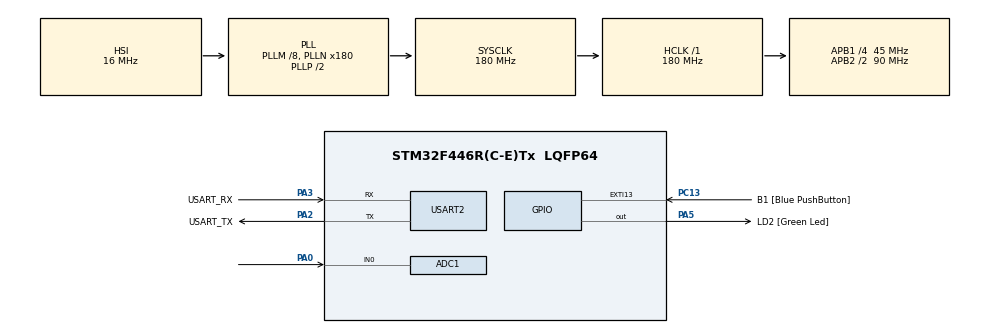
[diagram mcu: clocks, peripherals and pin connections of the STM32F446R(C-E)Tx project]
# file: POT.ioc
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ADC1.Channel-0\#ChannelRegularConversion=ADC_CHANNEL_0
ADC1.ContinuousConvMode=ENABLE
ADC1.NbrOfConversionFlag=1
ADC1.Rank-0\#ChannelRegularConversion=1
ADC1.SamplingTime-0\#ChannelRegularConversion=ADC_SAMPLETIME_3CYCLES
ADC1.master=1
Mcu.Family=STM32F4
Mcu.Name=STM32F446R(C-E)Tx
Mcu.Package=LQFP64
NVIC.PriorityGroup=NVIC_PRIORITYGROUP_0
PA0-WKUP.Signal=ADCx_IN0
PA13.GPIO_Label=TMS
PA13.Mode=Serial_Wire
PA13.Signal=SYS_JTMS-SWDIO
PA14.GPIO_Label=TCK
PA14.Mode=Serial_Wire
PA14.Signal=SYS_JTCK-SWCLK
PA2.GPIO_Label=USART_TX
PA2.Mode=Asynchronous
PA2.Signal=USART2_TX
PA3.GPIO_Label=USART_RX
PA3.Mode=Asynchronous
PA3.Signal=USART2_RX
PA5.GPIO_Label=LD2 [Green Led]
PA5.Signal=GPIO_Output
PB3.GPIO_Label=SWO
PB3.Signal=SYS_JTDO-SWO
PC13.GPIO_Label=B1 [Blue PushButton]
PC13.GPIO_ModeDefaultEXTI=GPIO_MODE_IT_FALLING
PC13.Signal=GPXTI13
PC14-OSC32_IN.Mode=LSE-External-Oscillator
PC14-OSC32_IN.Signal=RCC_OSC32_IN
PC15-OSC32_OUT.Mode=LSE-External-Oscillator
PC15-OSC32_OUT.Signal=RCC_OSC32_OUT
PH0-OSC_IN.Mode=HSE-External-Oscillator
PH0-OSC_IN.Signal=RCC_OSC_IN
PH1-OSC_OUT.Mode=HSE-External-Oscillator
PH1-OSC_OUT.Signal=RCC_OSC_OUT
ProjectManager.HeapSize=0x200
ProjectManager.StackSize=0x400
ProjectManager.TargetToolchain=STM32CubeIDE
RCC.48MHZClocksFreq_Value=84000000
RCC.AHBFreq_Value=180000000
RCC.APB1CLKDivider=RCC_HCLK_DIV4
RCC.APB1Freq_Value=45000000
RCC.APB1TimFreq_Value=90000000
RCC.APB2CLKDivider=RCC_HCLK_DIV2
RCC.APB2Freq_Value=90000000
RCC.APB2TimFreq_Value=180000000
RCC.CortexFreq_Value=180000000
RCC.FLatency-AdvancedSettings=FLASH_LATENCY_5
RCC.HCLKFreq_Value=180000000
RCC.HSE_VALUE=8000000
RCC.HSI_VALUE=16000000
RCC.PLLM=8
RCC.PLLN=180
RCC.SYSCLKFreq_VALUE=180000000
RCC.SYSCLKSource=RCC_SYSCLKSOURCE_PLLCLK
RCC.USBFreq_Value=180000000
RCC.VCOOutputFreq_Value=360000000
SH.ADCx_IN0.0=ADC1_IN0,IN0
USART2.VirtualMode=VM_ASYNC
board=NUCLEO-F446RE

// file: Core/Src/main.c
/* USER CODE BEGIN Header */
/**
  ******************************************************************************
  * @file           : main.c
  * @brief          : Main program body
  ******************************************************************************
  * @attention
  *
  * Copyright (c) 2025 STMicroelectronics.
  * All rights reserved.
  *
  * This software is licensed under terms that can be found in the LICENSE file
  * in the root directory of this software component.
  * If no LICENSE file comes with this software, it is provided AS-IS.
  *
  ******************************************************************************
  */
/* USER CODE END Header */
#include "main.h"

/* USER CODE BEGIN Includes */
#include <stdio.h>
#include <string.h>
#include <stdlib.h>

/* USER CODE END Includes */

ADC_HandleTypeDef hadc1;

UART_HandleTypeDef huart2;

/* USER CODE BEGIN PV */
int16_t readValue;
char buffer[50];
int stable_counter = 0;
int last_approved_value = -1;
int temp_value = -1;
const int threshold = 3;  // الفرق اللي بنعتبره تغيير حقيقي
const int confirm_times = 3;  // عدد مرات التكرار للتأكيد
/* USER CODE END PV */

void SystemClock_Config(void);
static void MX_GPIO_Init(void);
static void MX_USART2_UART_Init(void);
static void MX_ADC1_Init(void);

int main(void)
{

  /* MCU Configuration--------------------------------------------------------*/

  /* Reset of all peripherals, Initializes the Flash interface and the Systick. */
  HAL_Init();

  /* Configure the system clock */
  SystemClock_Config();

  /* Initialize all configured peripherals */
  MX_GPIO_Init();
  MX_USART2_UART_Init();
  MX_ADC1_Init();

  /* Infinite loop */
  /* USER CODE BEGIN WHILE */
  while (1)
  {
	  int16_t samples[7];

	      // 1️⃣ قراءة 7 عينات
	      for (int i = 0; i < 7; i++)
	      {
	          HAL_ADC_Start(&hadc1);
	          HAL_ADC_PollForConversion(&hadc1, 1000);
	          samples[i] = HAL_ADC_GetValue(&hadc1);
	          HAL_ADC_Stop(&hadc1);
	          HAL_Delay(5);
	      }

	      // 2️⃣ ترتيب وفلترة
	      for (int i = 0; i < 6; i++)
	      {
	          for (int j = i + 1; j < 7; j++)
	          {
	              if (samples[i] > samples[j])
	              {
	                  int16_t temp = samples[i];
	                  samples[i] = samples[j];
	                  samples[j] = temp;
	              }
	          }
	      }
	      int filtered = (samples[2] + samples[3] + samples[4]) / 3;

	      // 3️⃣ هل الفرق يستحق التغيير؟
	      if (abs(filtered - last_approved_value) >= threshold)
	      {
	          if (temp_value == -1 || abs(filtered - temp_value) < threshold)
	          {
	              temp_value = filtered;
	              stable_counter++;
	          }
	          else
	          {
	              // القراءة الجديدة مختلفة كتير → نبدأ من جديد
	              temp_value = filtered;
	              stable_counter = 1;
	          }

	          if (stable_counter >= confirm_times)
	          {
	              // ✅ تم التأكد من التغيير
	              last_approved_value = temp_value;
	              sprintf(buffer, "Stable: %d\r\n", last_approved_value);
	              HAL_UART_Transmit(&huart2, (uint8_t *)buffer, strlen(buffer), HAL_MAX_DELAY);
	              stable_counter = 0;
	          }
	      }

	      HAL_Delay(100);

    /* USER CODE END WHILE */

  }
}

void SystemClock_Config(void)
{
  RCC_OscInitTypeDef RCC_OscInitStruct = {0};
  RCC_ClkInitTypeDef RCC_ClkInitStruct = {0};

  /** Configure the main internal regulator output voltage
  */
  __HAL_RCC_PWR_CLK_ENABLE();
  __HAL_PWR_VOLTAGESCALING_CONFIG(PWR_REGULATOR_VOLTAGE_SCALE1);

  /** Initializes the RCC Oscillators according to the specified parameters
  * in the RCC_OscInitTypeDef structure.
  */
  RCC_OscInitStruct.OscillatorType = RCC_OSCILLATORTYPE_HSI;
  RCC_OscInitStruct.HSIState = RCC_HSI_ON;
  RCC_OscInitStruct.HSICalibrationValue = RCC_HSICALIBRATION_DEFAULT;
  RCC_OscInitStruct.PLL.PLLState = RCC_PLL_ON;
  RCC_OscInitStruct.PLL.PLLSource = RCC_PLLSOURCE_HSI;
  RCC_OscInitStruct.PLL.PLLM = 8;
  RCC_OscInitStruct.PLL.PLLN = 180;
  RCC_OscInitStruct.PLL.PLLP = RCC_PLLP_DIV2;
  RCC_OscInitStruct.PLL.PLLQ = 2;
  RCC_OscInitStruct.PLL.PLLR = 2;
  if (HAL_RCC_OscConfig(&RCC_OscInitStruct) != HAL_OK)
  {
    Error_Handler();
  }

  /** Activate the Over-Drive mode
  */
  if (HAL_PWREx_EnableOverDrive() != HAL_OK)
  {
    Error_Handler();
  }

  /** Initializes the CPU, AHB and APB buses clocks
  */
  RCC_ClkInitStruct.ClockType = RCC_CLOCKTYPE_HCLK|RCC_CLOCKTYPE_SYSCLK
                              |RCC_CLOCKTYPE_PCLK1|RCC_CLOCKTYPE_PCLK2;
  RCC_ClkInitStruct.SYSCLKSource = RCC_SYSCLKSOURCE_PLLCLK;
  RCC_ClkInitStruct.AHBCLKDivider = RCC_SYSCLK_DIV1;
  RCC_ClkInitStruct.APB1CLKDivider = RCC_HCLK_DIV4;
  RCC_ClkInitStruct.APB2CLKDivider = RCC_HCLK_DIV2;

  if (HAL_RCC_ClockConfig(&RCC_ClkInitStruct, FLASH_LATENCY_5) != HAL_OK)
  {
    Error_Handler();
  }
}

static void MX_ADC1_Init(void)
{

  ADC_ChannelConfTypeDef sConfig = {0};

  /** Configure the global features of the ADC (Clock, Resolution, Data Alignment and number of conversion)
  */
  hadc1.Instance = ADC1;
  hadc1.Init.ClockPrescaler = ADC_CLOCK_SYNC_PCLK_DIV4;
  hadc1.Init.Resolution = ADC_RESOLUTION_12B;
  hadc1.Init.ScanConvMode = DISABLE;
  hadc1.Init.ContinuousConvMode = ENABLE;
  hadc1.Init.DiscontinuousConvMode = DISABLE;
  hadc1.Init.ExternalTrigConvEdge = ADC_EXTERNALTRIGCONVEDGE_NONE;
  hadc1.Init.ExternalTrigConv = ADC_SOFTWARE_START;
  hadc1.Init.DataAlign = ADC_DATAALIGN_RIGHT;
  hadc1.Init.NbrOfConversion = 1;
  hadc1.Init.DMAContinuousRequests = DISABLE;
  hadc1.Init.EOCSelection = ADC_EOC_SINGLE_CONV;
  if (HAL_ADC_Init(&hadc1) != HAL_OK)
  {
    Error_Handler();
  }

  /** Configure for the selected ADC regular channel its corresponding rank in the sequencer and its sample time.
  */
  sConfig.Channel = ADC_CHANNEL_0;
  sConfig.Rank = 1;
  sConfig.SamplingTime = ADC_SAMPLETIME_3CYCLES;
  if (HAL_ADC_ConfigChannel(&hadc1, &sConfig) != HAL_OK)
  {
    Error_Handler();
  }

}

static void MX_USART2_UART_Init(void)
{

  huart2.Instance = USART2;
  huart2.Init.BaudRate = 115200;
  huart2.Init.WordLength = UART_WORDLENGTH_8B;
  huart2.Init.StopBits = UART_STOPBITS_1;
  huart2.Init.Parity = UART_PARITY_NONE;
  huart2.Init.Mode = UART_MODE_TX_RX;
  huart2.Init.HwFlowCtl = UART_HWCONTROL_NONE;
  huart2.Init.OverSampling = UART_OVERSAMPLING_16;
  if (HAL_UART_Init(&huart2) != HAL_OK)
  {
    Error_Handler();
  }

}

static void MX_GPIO_Init(void)
{
  GPIO_InitTypeDef GPIO_InitStruct = {0};

  /* GPIO Ports Clock Enable */
  __HAL_RCC_GPIOC_CLK_ENABLE();
  __HAL_RCC_GPIOH_CLK_ENABLE();
  __HAL_RCC_GPIOA_CLK_ENABLE();
  __HAL_RCC_GPIOB_CLK_ENABLE();

  /*Configure GPIO pin Output Level */
  HAL_GPIO_WritePin(LD2_GPIO_Port, LD2_Pin, GPIO_PIN_RESET);

  /*Configure GPIO pin : B1_Pin */
  GPIO_InitStruct.Pin = B1_Pin;
  GPIO_InitStruct.Mode = GPIO_MODE_IT_FALLING;
  GPIO_InitStruct.Pull = GPIO_NOPULL;
  HAL_GPIO_Init(B1_GPIO_Port, &GPIO_InitStruct);

  /*Configure GPIO pin : LD2_Pin */
  GPIO_InitStruct.Pin = LD2_Pin;
  GPIO_InitStruct.Mode = GPIO_MODE_OUTPUT_PP;
  GPIO_InitStruct.Pull = GPIO_NOPULL;
  GPIO_InitStruct.Speed = GPIO_SPEED_FREQ_LOW;
  HAL_GPIO_Init(LD2_GPIO_Port, &GPIO_InitStruct);

}

void Error_Handler(void)
{
  __disable_irq();
  while (1)
  {
  }
}
